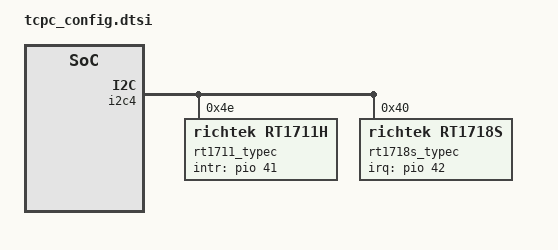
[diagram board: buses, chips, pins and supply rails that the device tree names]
// SPDX-License-Identifier: GPL-2.0
/*
 * Copyright (c) 2024 MediaTek Inc.
 */

&i2c4 {
	rt1711_typec: rt1711h@4e {
		compatible = "richtek,rt1711h";
		reg = <0x4e>;
		status = "okay";
		rt-tcpc,name = "type_c_port0"; /* tcpc_device's name */
		rt-tcpc,role-def = <5>; /* 0: Unknown, 1: SNK, 2: SRC */
					/* 3: DRP, 4: Try.SRC, 5: Try.SNK */
		rt-tcpc,rp-level = <0>; /* 0: Default, 1: 1.5, 2: 3.0 */
		rt-tcpc,vconn-supply = <1>;  /* 0: Never, 1: Always, */
					     /* 2: EMarkOnly, 3: StartOnly */
		rt1711pd,intr-gpio = <&pio 41 0x0>;
		rt1711pd,intr-gpio-num = <41>;
		/* charger = <&mt6375_chg>; */
		pd-data {
			pd,vid = <0x29cf>;
			pd,pid = <0x1711>;
			pd,source-cap-ext = /bits/ 8 <0xcf 0x29 0x11 0x17
						      0x00 0x00 0x00 0x00
						      0x00 0x00 0x00 0x00
						      0x00 0x00 0x00 0x00
						      0x00 0x00 0x00 0x00
						      0x00 0x00 0x01 0x02
						      0x00>;
			pd,sink-cap-ext = /bits/ 8 <0xcf 0x29 0x11 0x17
						    0x00 0x00 0x00 0x00
						    0x00 0x00 0x01 0x00
						    0x00 0x00 0x00 0x00
						    0x01 0x0b 0x01 0x0a
						    0x0a 0x00 0x00 0x00>;
			pd,mfrs = "RichtekTCPC";

			/*
			 *	VSAFE5V = 0, MAX_POWER = 1, CUSTOM = 2,
			 *	MAX_POWER_LV = 0x21, MAX_POWER_LVIC = 0x31
			 *	MAX_POWER_HV = 0x41, MAX_POWER_HVIC = 0x51
			 */
			pd,charging-policy = <0x31>;

			/*
			 * Fixed 5V, 500 mA <0x00019032>
			 * Fixed 5V, 1A <0x00019064>
			 * Fixed 5V, 2A <0x000190c8>
			 * Fixed 5V, 3A <0x0001912c>
			 * Fixed 9V, 500 mA <0x0002d032>
			 * Fixed 9V, 1A <0x0002d064>
			 * Fixed 9V, 2A <0x0002d0c8>
			 * Fixed 9V, 3A <0x0002d12c>
			 * Variable 5-9V, 1A <0x8642d064>
			 * Variable 5-9V, 2A <0x8642d0c8>
			 * Variable 5-9V, 3A <0x8642d12c>
			 */
			pd,source-pdo-size = <1>;
			pd,source-pdo-data = <0x00019032>;
			pd,sink-pdo-size = <1>;
			pd,sink-pdo-data = <0x000190c8>;

			/*
			 * No DP Sink capability
			 *	pd,id-vdo-size = <6>;
			 *	pd,id-vdo-data = <0xd14029cf 0x0 0x17110000
						  0x61000000 0x0 0x41000000>;
			 * With DP Sink capability
			 *	pd,id-vdo-size = <6>;
			 *	pd,id-vdo-data = <0xd54029cf 0x0 0x17110000
						  0x61000000 0x0 0x41000000>;
			 */

			pd,id-vdo-size = <6>;
			pd,id-vdo-data = <0xd14029cf 0x0 0x17110000
					  0x61000000 0x0 0x41000000>;

			bat,nr = <1>;
			bat-info0 {
				bat,vid = <0x29cf>;
				bat,pid = <0x1711>;
				bat,mfrs = "bat1";
				bat,design-cap = <3000>;
			};
		};
		dpm-caps {
			local-dr-power;
			local-dr-data;
			// local-ext-power;
			local-usb-comm;
			// local-usb-suspend;
			// local-high-cap;
			// local-give-back;
			local-no-suspend;

			/* With DP Source capability */
			// attempt-enter-dp-mode;
			// attempt-discover-cable;
			// attempt-discover-id;
			// attempt-discover-svids;

			/* 0: disable, 1: prefer-snk, 2: prefer-src */
			pr-check = <0>;
			// pr-reject-as-source;
			// pr-reject-as-sink;
			// pr-check-gp-source;
			// pr-check-gp-sink;

			/* 0: disable, 1: prefer-ufp, 2: prefer-dfp */
			dr-check = <0>;
			// dr-reject-as-dfp;
			// dr-reject-as-ufp;
		};
		displayport {
			/* connection type = "both", "ufp-d", "dfp-d" */
			1st-connection = "dfp-d";
			2nd-connection = "dfp-d";
			// usbr20-not-used;
			typec,receptacle;
			ufp-d {
				// pin-assignment,mode-c;
				// pin-assignment,mode-d;
				// pin-assignment,mode-e;
			};
			dfp-d {
				pin-assignment,mode-c;
				pin-assignment,mode-d;
				pin-assignment,mode-e;
			};
		};
	};

	rt1718s_typec: rt1718s@40 {
		compatible = "richtek,rt1718s";
		reg = <0x40>;
		wakeup-source;
		status = "okay";
		tcpc,name = "type_c_port0"; /* tcpc_device's name */
		tcpc,role-def = <5>; /* 0: Unknown, 1: SNK, 2: SRC */
				     /* 3: DRP, 4: Try.SRC, 5: Try.SNK */
		tcpc,rp-level = <0>; /* 0: Default, 1: 1.5, 2: 3.0 */
		tcpc,vconn-supply = <1>;  /* 0: Never, 1: Always, */
					  /* 2: EMarkOnly, 3: StartOnly */
		interrupts-extended = <&pio 42 IRQ_TYPE_LEVEL_LOW>;
		// tcpc,en-fod;
		tcpc,en-ctd;
		pd-data {
			pd,vid = <0x29cf>;
			pd,pid = <0x1718>;
			pd,source-cap-ext = /bits/ 8 <0xcf 0x29 0x18 0x17
						      0x00 0x00 0x00 0x00
						      0x00 0x00 0x00 0x00
						      0x00 0x00 0x00 0x00
						      0x00 0x00 0x00 0x00
						      0x00 0x00 0x01 0x02
						      0x00>;
			pd,sink-cap-ext = /bits/ 8 <0xcf 0x29 0x18 0x17
						    0x00 0x00 0x00 0x00
						    0x00 0x00 0x01 0x00
						    0x00 0x00 0x00 0x00
						    0x01 0x0b 0x01 0x0a
						    0x0a 0x00 0x00 0x00>;
			pd,mfrs = "RichtekTCPC";

			/*
			 *	VSAFE5V = 0, MAX_POWER = 1, CUSTOM = 2,
			 *	MAX_POWER_LV = 0x21, MAX_POWER_LVIC = 0x31
			 *	MAX_POWER_HV = 0x41, MAX_POWER_HVIC = 0x51
			 */
			pd,charging-policy = <0x31>;

			/*
			 * Fixed 5V, 500 mA <0x00019032>
			 * Fixed 5V, 1A <0x00019064>
			 * Fixed 5V, 2A <0x000190c8>
			 * Fixed 5V, 3A <0x0001912c>
			 * Fixed 9V, 500 mA <0x0002d032>
			 * Fixed 9V, 1A <0x0002d064>
			 * Fixed 9V, 2A <0x0002d0c8>
			 * Fixed 9V, 3A <0x0002d12c>
			 * Variable 5-9V, 1A <0x8642d064>
			 * Variable 5-9V, 2A <0x8642d0c8>
			 * Variable 5-9V, 3A <0x8642d12c>
			 */
			pd,source-pdo-size = <1>;
			pd,source-pdo-data = <0x00019032>;
			pd,sink-pdo-size = <1>;
			pd,sink-pdo-data = <0x000190c8>;

			/*
			 * No DP Sink capability
			 *	pd,id-vdo-size = <6>;
			 *	pd,id-vdo-data = <0xd14029cf 0x0 0x17180000
						  0x61000000 0x0 0x41000000>;
			 * With DP Sink capability
			 *	pd,id-vdo-size = <6>;
			 *	pd,id-vdo-data = <0xd54029cf 0x0 0x17180000
						  0x61000000 0x0 0x41000000>;
			 */

			pd,id-vdo-size = <6>;
			pd,id-vdo-data = <0xd14029cf 0x0 0x17180000
					  0x61000000 0x0 0x41000000>;

			bat,nr = <1>;
			bat-info0 {
				bat,vid = <0x29cf>;
				bat,pid = <0x1718>;
				bat,mfrs = "bat1";
				bat,design-cap = <3000>;
			};
		};
		dpm-caps {
			local-dr-power;
			local-dr-data;
			// local-ext-power;
			local-usb-comm;
			// local-usb-suspend;
			// local-high-cap;
			// local-give-back;
			local-no-suspend;

			/* With DP Source capability */
			// attempt-enter-dp-mode;
			// attempt-discover-cable;
			// attempt-discover-id;
			// attempt-discover-svids;

			/* 0: disable, 1: prefer-snk, 2: prefer-src */
			pr-check = <0>;
			// pr-reject-as-source;
			// pr-reject-as-sink;
			// pr-check-gp-source;
			// pr-check-gp-sink;

			/* 0: disable, 1: prefer-ufp, 2: prefer-dfp */
			dr-check = <0>;
			// dr-reject-as-dfp;
			// dr-reject-as-ufp;
		};
		displayport {
			/* connection type = "both", "ufp-d", "dfp-d" */
			1st-connection = "dfp-d";
			2nd-connection = "dfp-d";
			// usbr20-not-used;
			typec,receptacle;
			ufp-d {
				// pin-assignment,mode-c;
				// pin-assignment,mode-d;
				// pin-assignment,mode-e;
			};
			dfp-d {
				pin-assignment,mode-c;
				pin-assignment,mode-d;
				pin-assignment,mode-e;
			};
		};
	};
};
